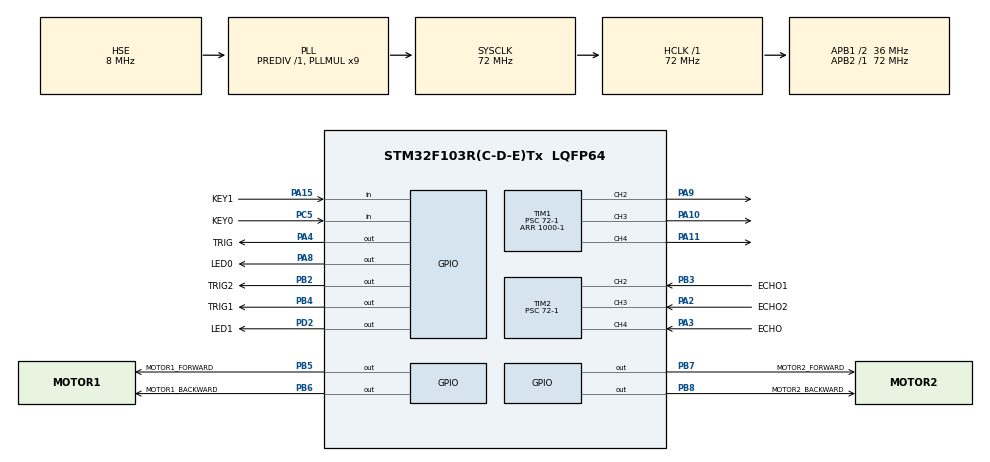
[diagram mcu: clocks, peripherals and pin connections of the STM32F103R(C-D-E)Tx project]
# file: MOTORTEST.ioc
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Mcu.Family=STM32F1
Mcu.Name=STM32F103R(C-D-E)Tx
Mcu.Package=LQFP64
NVIC.PriorityGroup=NVIC_PRIORITYGROUP_4
NVIC.TIM1_UP_IRQn=true\:0\:0\:false\:false\:true\:true\:true
NVIC.TIM2_IRQn=true\:0\:0\:false\:false\:true\:true\:true
PA10.Signal=S_TIM1_CH3
PA11.Signal=S_TIM1_CH4
PA15.GPIO_Label=KEY1
PA15.GPIO_PuPd=GPIO_PULLUP
PA15.Signal=GPIO_Input
PA2.GPIO_Label=ECHO2
PA2.Signal=S_TIM2_CH3
PA3.GPIO_Label=ECHO
PA3.Signal=S_TIM2_CH4
PA4.GPIO_Label=TRIG
PA4.Signal=GPIO_Output
PA8.GPIO_Label=LED0
PA8.GPIO_PuPd=GPIO_NOPULL
PA8.PinState=GPIO_PIN_SET
PA8.Signal=GPIO_Output
PA9.Signal=S_TIM1_CH2
PB2.GPIO_Label=TRIG2
PB2.Signal=GPIO_Output
PB3.GPIO_Label=ECHO1
PB3.Signal=S_TIM2_CH2
PB4.GPIO_Label=TRIG1
PB4.Signal=GPIO_Output
PB5.GPIO_Label=MOTOR1_FORWARD
PB5.Signal=GPIO_Output
PB6.GPIO_Label=MOTOR1_BACKWARD
PB6.Signal=GPIO_Output
PB7.GPIO_Label=MOTOR2_FORWARD
PB7.Signal=GPIO_Output
PB8.GPIO_Label=MOTOR2_BACKWARD
PB8.Signal=GPIO_Output
PC5.GPIO_Label=KEY0
PC5.GPIO_PuPd=GPIO_PULLUP
PC5.Signal=GPIO_Input
PD0-OSC_IN.Mode=HSE-External-Oscillator
PD0-OSC_IN.Signal=RCC_OSC_IN
PD1-OSC_OUT.Mode=HSE-External-Oscillator
PD1-OSC_OUT.Signal=RCC_OSC_OUT
PD2.GPIO_Label=LED1
PD2.PinState=GPIO_PIN_SET
PD2.Signal=GPIO_Output
ProjectManager.HeapSize=0x200
ProjectManager.StackSize=0x400
ProjectManager.TargetToolchain=MDK-ARM V5
RCC.AHBFreq_Value=72000000
RCC.APB1CLKDivider=RCC_HCLK_DIV2
RCC.APB1Freq_Value=36000000
RCC.APB1TimFreq_Value=72000000
RCC.APB2Freq_Value=72000000
RCC.APB2TimFreq_Value=72000000
RCC.HCLKFreq_Value=72000000
RCC.PLLMUL=RCC_PLL_MUL9
RCC.PLLSourceVirtual=RCC_PLLSOURCE_HSE
RCC.SYSCLKFreq_VALUE=72000000
RCC.SYSCLKSource=RCC_SYSCLKSOURCE_PLLCLK
RCC.USBFreq_Value=72000000
SH.S_TIM1_CH2.0=TIM1_CH2,PWM Generation2 CH2
SH.S_TIM1_CH3.0=TIM1_CH3,PWM Generation3 CH3
SH.S_TIM1_CH4.0=TIM1_CH4,PWM Generation4 CH4
SH.S_TIM2_CH2.0=TIM2_CH2,Input_Capture2_from_TI2
SH.S_TIM2_CH3.0=TIM2_CH3,Input_Capture3_from_TI3
SH.S_TIM2_CH4.0=TIM2_CH4,Input_Capture4_from_TI4
TIM1.AutoReloadPreload=TIM_AUTORELOAD_PRELOAD_ENABLE
TIM1.Channel-PWM\ Generation2\ CH2=TIM_CHANNEL_2
TIM1.Channel-PWM\ Generation3\ CH3=TIM_CHANNEL_3
TIM1.Channel-PWM\ Generation4\ CH4=TIM_CHANNEL_4
TIM1.Period=1000-1
TIM1.Prescaler=72-1
TIM2.Channel-Input_Capture2_from_TI2=TIM_CHANNEL_2
TIM2.Channel-Input_Capture3_from_TI3=TIM_CHANNEL_3
TIM2.Channel-Input_Capture4_from_TI4=TIM_CHANNEL_4
TIM2.Prescaler=72-1
VP_SYS_VS_ND.Mode=No_Debug
VP_TIM1_VS_ClockSourceINT.Mode=Internal
board=custom

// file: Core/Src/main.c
/* USER CODE BEGIN Header */
/**
 ******************************************************************************
 * @file           : main.c
 * @brief          : Main program body
 ******************************************************************************
 * @attention
 *
 * <h2><center>&copy; Copyright (c) 2021 STMicroelectronics.
 * All rights reserved.</center></h2>
 *
 * This software component is licensed by ST under BSD 3-Clause license,
 * the "License"; You may not use this file except in compliance with the
 * License. You may obtain a copy of the License at:
 *                        opensource.org/licenses/BSD-3-Clause
 *
 ******************************************************************************
 */
/* USER CODE END Header */
#include "main.h"
#include "tim.h"
#include "gpio.h"

/* USER CODE BEGIN Includes */
#include "state_machine.h"
#include "hc-sr04.h"
#include "motor.h"
#include "car.h"
/* USER CODE END Includes */

void SystemClock_Config(void);

/* USER CODE BEGIN 0 */
Hcsr04InfoTypeDef Hcsr04_mid;
Hcsr04InfoTypeDef Hcsr04_left;
Hcsr04InfoTypeDef Hcsr04_right;
int flag = 0;
/* USER CODE END 0 */

int main(void)
{

  /* MCU Configuration--------------------------------------------------------*/

  /* Reset of all peripherals, Initializes the Flash interface and the Systick. */
  HAL_Init();

  /* Configure the system clock */
  SystemClock_Config();

  /* Initialize all configured peripherals */
  MX_GPIO_Init();
  MX_TIM1_Init();
  MX_TIM2_Init();
  /* USER CODE BEGIN 2 */
  // 瓒呭０娉紶鎰熷櫒鍒濆鍖�
  Hcsr04Init(&Hcsr04_mid, &htim2, TIM_CHANNEL_4);
  Hcsr04Init(&Hcsr04_left, &htim2, TIM_CHANNEL_2);
  Hcsr04Init(&Hcsr04_right, &htim2, TIM_CHANNEL_3);
  Hcsr04Start(&Hcsr04_mid, TRIG_GPIO_Port, TRIG_Pin);
  Hcsr04Start(&Hcsr04_left, TRIG1_GPIO_Port, TRIG1_Pin);
  Hcsr04Start(&Hcsr04_right, TRIG2_GPIO_Port, TRIG2_Pin);
  HAL_TIM_PWM_Start(&htim1, TIM_CHANNEL_2);
  HAL_TIM_PWM_Start(&htim1, TIM_CHANNEL_3);
  HAL_GPIO_WritePin(LED0_GPIO_Port, LED0_Pin, GPIO_PIN_RESET); // LED0闂佽法鍠愰弸濠氬箯閿燂拷
  HAL_GPIO_WritePin(LED1_GPIO_Port, LED1_Pin, GPIO_PIN_RESET); // LED1闂佽法鍠愰弸濠氬箯閿燂拷
  /* USER CODE END 2 */

  /* Infinite loop */
  /* USER CODE BEGIN WHILE */
  while (1)
  {

    /* 闂佸湱枪椤︻喚绮崡顧珁0闂佹寧绋戦懟顖涚閻樼粯鏅搁柨鐕傛嫹? */
    // if (HAL_GPIO_ReadPin(KEY0_GPIO_Port, KEY0_Pin) == GPIO_PIN_RESET)
    // {
    //   while (HAL_GPIO_ReadPin(KEY0_GPIO_Port, KEY0_Pin) == GPIO_PIN_RESET)
    //     ;
    //   flag = 1;
    // }
    // if (HAL_GPIO_ReadPin(KEY1_GPIO_Port, KEY1_Pin) == GPIO_PIN_RESET)
    // {
    //   while (HAL_GPIO_ReadPin(KEY1_GPIO_Port, KEY1_Pin) == GPIO_PIN_RESET)
    //     ;
    //   flag = 0;
    // }
    state_exe();
    // motor1_forward();
    // motor2_forward();
    // car_forward();

    // if (flag == 1)
    // {
    //   // 闂佸憡鎸哥粔鐢稿蓟閻斿吋鈷曟繝濠傛媼閺嗭繝鏌ㄩ悤鍌涘?
    //   if (Hcsr04Read(&Hcsr04Info) < 20)
    //   {
    //     flag_mid = 1;
    //   }
    //   else
    //   {
    //     flag_mid = 0;
    //   }

    //   // 閻庡綊娼婚梽鍕蓟閻斿吋鈷曟繝濠傛媼閺嗭繝鏌ㄩ悤鍌涘?
    //   if (Hcsr04Read(&Hcsr04Info1) < 10)
    //   {
    //     flag_left = 1;
    //   }
    //   else
    //   {
    //     flag_left = 0;
    //   }
    //   // 闂佸憡鐟ㄥ▍鏇㈠蓟閿燂拷
    //   if (Hcsr04Read(&Hcsr04Info2) < 10)
    //   {
    //     flag_right = 1;
    //   }
    //   else
    //   {
    //     flag_right = 0;
    //   }
    //   Hcsr04Start(&Hcsr04Info, TRIG_GPIO_Port, TRIG_Pin);
    //   Hcsr04Start(&Hcsr04Info1, TRIG1_GPIO_Port, TRIG1_Pin);
    //   Hcsr04Start(&Hcsr04Info2, TRIG2_GPIO_Port, TRIG2_Pin);
    //   HAL_Delay(50);
    // }
    // else
    // {
    //   STOP();
    // }

    // /******** 闂佸搫绉村ú銈囨崲閺冣偓閹峰懎顓奸崱妞剧帛闂佽法鍣﹂幏锟�? ********/
    // if (flag == 1)
    // {
    //   car_ctrl(flag_mid, flag_left, flag_right);
    // }

    /* USER CODE END WHILE */

  }
}

void SystemClock_Config(void)
{
  RCC_OscInitTypeDef RCC_OscInitStruct = {0};
  RCC_ClkInitTypeDef RCC_ClkInitStruct = {0};

  /** Initializes the RCC Oscillators according to the specified parameters
   * in the RCC_OscInitTypeDef structure.
   */
  RCC_OscInitStruct.OscillatorType = RCC_OSCILLATORTYPE_HSE;
  RCC_OscInitStruct.HSEState = RCC_HSE_ON;
  RCC_OscInitStruct.HSEPredivValue = RCC_HSE_PREDIV_DIV1;
  RCC_OscInitStruct.HSIState = RCC_HSI_ON;
  RCC_OscInitStruct.PLL.PLLState = RCC_PLL_ON;
  RCC_OscInitStruct.PLL.PLLSource = RCC_PLLSOURCE_HSE;
  RCC_OscInitStruct.PLL.PLLMUL = RCC_PLL_MUL9;
  if (HAL_RCC_OscConfig(&RCC_OscInitStruct) != HAL_OK)
  {
    Error_Handler();
  }
  /** Initializes the CPU, AHB and APB buses clocks
   */
  RCC_ClkInitStruct.ClockType = RCC_CLOCKTYPE_HCLK | RCC_CLOCKTYPE_SYSCLK | RCC_CLOCKTYPE_PCLK1 | RCC_CLOCKTYPE_PCLK2;
  RCC_ClkInitStruct.SYSCLKSource = RCC_SYSCLKSOURCE_PLLCLK;
  RCC_ClkInitStruct.AHBCLKDivider = RCC_SYSCLK_DIV1;
  RCC_ClkInitStruct.APB1CLKDivider = RCC_HCLK_DIV2;
  RCC_ClkInitStruct.APB2CLKDivider = RCC_HCLK_DIV1;

  if (HAL_RCC_ClockConfig(&RCC_ClkInitStruct, FLASH_LATENCY_2) != HAL_OK)
  {
    Error_Handler();
  }
}

/* USER CODE BEGIN 4 */
void HAL_Delay_us(uint32_t nus)
{
  //闁诲繐绻愰弫鍓弒tic闁荤姳绀佹晶浠嬫偪閸℃稒鏅搁柨鐕傛嫹?1us婵炴垶鎼╅崢浠嬪蓟閿燂拷
  HAL_SYSTICK_Config(HAL_RCC_GetHCLKFreq() / 1000000);
  //閻庣偣鍊涢崺鏍ь渻娣囩s
  HAL_Delay(nus - 1);
  //闂佽鍘归崹褰捤囬惉鐝乻tic婵炴垶鎼╅崢浠嬪蓟閸ヮ剚鏅搁柨鐕傛嫹?1ms
  HAL_SYSTICK_Config(HAL_RCC_GetHCLKFreq() / 1000);
}
/**
 * @description: 闁诲氦顫夌喊宥咁渻閸岀偛闂柕濞垮妿缂堝鏌涢幋鐘插妺鐎规洜鍠栭幊銏ゆ憥閸屾繂骞€闂佽法鍣﹂幏锟�?
 * @param {TIM_HandleTypeDef} *htim
 * @return {*}
 */
void HAL_TIM_IC_CaptureCallback(TIM_HandleTypeDef *htim)
{
  Hcsr04TimIcIsr(&Hcsr04_mid, htim);
  Hcsr04TimIcIsr(&Hcsr04_left, htim);
  Hcsr04TimIcIsr(&Hcsr04_right, htim);
}

/**
 * @description: 闁诲氦顫夌喊宥咁渻閸岀偛闂柕濠忕畱椤掋垽鏌涢幋锝嗐€冮柤鍨灴閺佹捇鏁撻敓锟�?
 * @param {*}
 * @return {*}
 */
void HAL_TIM_PeriodElapsedCallback(TIM_HandleTypeDef *htim)
{
  Hcsr04TimOverflowIsr(&Hcsr04_mid, htim);
  Hcsr04TimOverflowIsr(&Hcsr04_left, htim);
  Hcsr04TimOverflowIsr(&Hcsr04_right, htim);
}

/* USER CODE END 4 */

void Error_Handler(void)
{
  __disable_irq();
  while (1)
  {
  }
}

/************************ (C) COPYRIGHT STMicroelectronics *****END OF FILE****/
